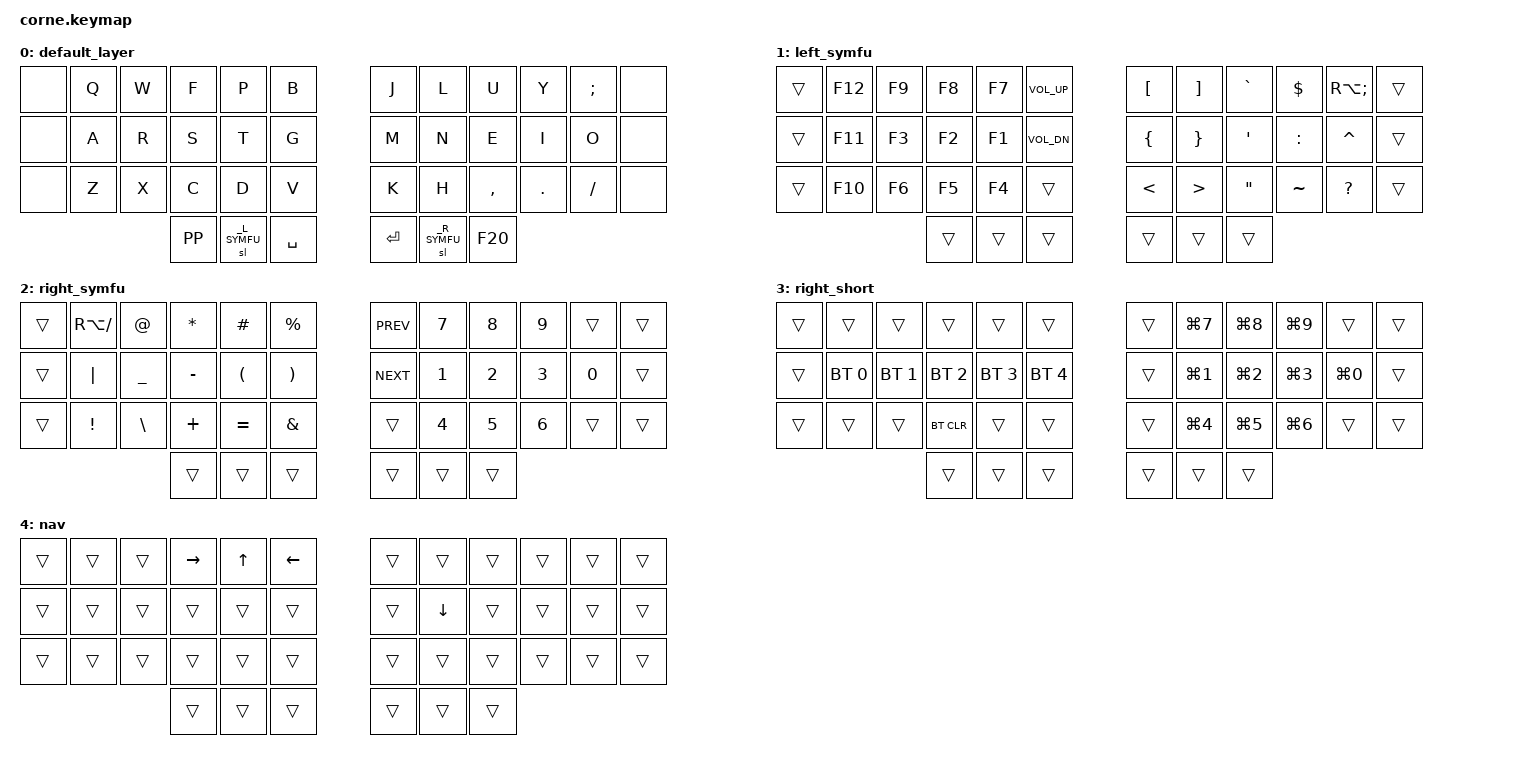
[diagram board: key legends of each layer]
/*
 * Copyright (c) 2020 The ZMK Contributors
 *
 * SPDX-License-Identifier: MIT
 */

#include <behaviors.dtsi>
#include <dt-bindings/zmk/keys.h>
#include <dt-bindings/zmk/bt.h>

#define _BASE 0
#define _L_SYMFU 1
#define _R_SYMFU 2
#define _R_SHORT 3
#define _NAV 4


/ {
// |   0  |  1  |  2  |  3  |  4  |  5  |   |  6  |  7  |  8  |  9  | 10  |  11  |
// +------+-LGui+LAlt-+-LCtl+-LSft+-Clr-+   +Short+-RSft+-RCtl+-RAlt+-RGui+------+
// |  12  | 13  | 14  | 15  | 16  | 17  |CpW| 18  | 19  | 20  | 21  | 22  |  23  |
// +------+-----+AltGr+-Nav-+-Tab-+C-PgUp   C-PgDn+-Bspc+-Nav-+AltGr+-----+------+
// |  24  | 25  | 26  | 27  | 28  | 29  |   | 30  | 31  | 32  | 33  | 34  |  35  |
//                    +-----+-----+-----+   +-----+-----+-----+
//                    | 36  | 37  | 38  |Esc| 39  | 40  | 41  |
    combos {
        compatible = "zmk,combos";
        combo_esc {
            timeout-ms = <50>;
            key-positions = <38 39>;
            bindings = <&kp ESC>;
        };
        combo_caps_word {
            timeout-ms = <50>;
            key-positions = <17 18>;
            bindings = <&caps_word>;
        };

        // Left top row
        combo_left_super {
            timeout-ms = <50>;
            key-positions = <1 13>;
            bindings = <&sk LGUI>;
        };
        combo_left_alt {
            timeout-ms = <50>;
            key-positions = <2 14>;
            bindings = <&sk LALT>;
        };
        combo_left_ctrl {
            timeout-ms = <50>;
            key-positions = <3 15>;
            bindings = <&sk LCTL>;
        };
        combo_left_shift {
            timeout-ms = <50>;
            key-positions = <4 16>;
            bindings = <&sk LSHFT>;
        };
        combo_clear {
            timeout-ms = <50>;
            key-positions = <5 17>;
            bindings = <&sys_reset>;
        };

        // Right top row
        combo_right_short {
            timeout-ms = <50>;
            key-positions = <6 18>;
            bindings = <&sl _R_SHORT>;
        };
        combo_right_shift {
            timeout-ms = <50>;
            key-positions = <7 19>;
            bindings = <&sk RSHFT>;
        };
        combo_right_ctrl {
            timeout-ms = <50>;
            key-positions = <8 20>;
            bindings = <&sk RCTL>;
        };
        combo_right_alt {
            timeout-ms = <50>;
            key-positions = <9 21>;
            bindings = <&sk RALT>;
        };
        combo_right_gui {
            timeout-ms = <50>;
            key-positions = <10 22>;
            bindings = <&sk RGUI>;
        };

        // Left bottom row
        combo_left_altgr {
            timeout-ms = <50>;
            key-positions = <14 26>;
            bindings = <&sk RALT>;
        };
        combo_left_nav {
            timeout-ms = <50>;
            key-positions = <15 27>;
            bindings = <&sl _NAV>;
        };
        combo_left_tab {
            timeout-ms = <50>;
            key-positions = <16 28>;
            bindings = <&kp TAB>;
        };
        combo_ctrl_page_up {
            timeout-ms = <50>;
            key-positions = <17 29>;
            bindings = <&kp LC(PG_UP)>;
        };

        // Right bottom row
        combo_ctrl_page_down {
            timeout-ms = <50>;
            key-positions = <18 30>;
            bindings = <&kp LC(PG_DN)>;
        };
        combo_right_bspc {
            timeout-ms = <50>;
            key-positions = <19 31>;
            bindings = <&kp BSPC>;
            layers = <_BASE _R_SYMFU _R_SHORT _NAV>;
        };
        combo_right_del {
            timeout-ms = <50>;
            key-positions = <19 31>;
            bindings = <&kp BSPC>;
            layers = <_L_SYMFU>;
        };
        combo_right_nav {
            timeout-ms = <50>;
            key-positions = <20 32>;
            bindings = <&sl _NAV>;
        };
        combo_right_altgr {
            timeout-ms = <50>;
            key-positions = <21 33>;
            bindings = <&sk RALT>;
        };
    };
    keymap {
        compatible = "zmk,keymap";
        default_layer {
// -----------------------------------------------------------------------------------------
// |      |  Q  |  W  |  F  |  P  |  B  |   |  J  |  L   |  U  |  Y  |  ;  |      |
// |      |  A  |  R  |  S  |  T  |  G  |   |  M  |  N   |  E  |  I  |  O  |      |
// |      |  Z  |  X  |  C  |  D  |  V  |   |  K  |  H   |  ,  |  .  |  /  |      |
//                    | play| LSF | SPC |   | ENT | RSF  | Mute|
            bindings = <
   &none &kp Q &kp W &kp F &kp P &kp B   &kp J &kp L  &kp U     &kp Y   &kp SEMI &none
   &none &kp A &kp R &kp S &kp T &kp G   &kp M &kp N  &kp E     &kp I   &kp O    &none
   &none &kp Z &kp X &kp C &kp D &kp V   &kp K &kp H  &kp COMMA &kp DOT &kp FSLH &none
           &kp K_PP &sl _L_SYMFU &kp SPACE   &kp RET &sl _R_SYMFU &kp F20
                >;
        };
        left_symfu {
// -----------------------------------------------------------------------------------------
// |      | F12 | F9  | F8  | F7  | vol+|   |  [  |  ]  |  `  |  $  |  …  |      |
// |      | F11 | F3  | F2  | F1  | vol-|   |  {  |  }  |  '  |  :  |  ^  |      |
// |      | F10 | F6  | F5  | F4  |     |   |  <  |  >  |  "  |  ~  |  ?  |      |
//                    |     |     |     |   |     |     |     |
            bindings = <
   &trans &kp F12 &kp F9 &kp F8 &kp F7 &kp K_VOL_UP   &kp LBKT &kp RBKT &kp GRAVE &kp DLLR  &kp RA(SEMI) &trans
   &trans &kp F11 &kp F3 &kp F2 &kp F1 &kp K_VOL_DN   &kp LBRC &kp RBRC &kp SQT   &kp COLON &kp CARET    &trans
   &trans &kp F10 &kp F6 &kp F5 &kp F4 &trans         &kp LT   &kp GT   &kp DQT   &kp TILDE &kp QMARK    &trans
                       &trans  &trans  &trans      &trans  &trans   &trans
                >;
        };
        right_symfu {
// -----------------------------------------------------------------------------------------
// |      |  °  |  @  |  *  |  #  |  %  |   | prev|  7  |  8  |  9  |     |      |
// |      |  |  |  _  |  -  |  (  |  )  |   | next|  1  |  2  |  3  |  0  |      |
// |      |  !  |  \  |  +  |  =  |  &  |   |     |  4  |  5  |  6  |     |      |
//                    |     |     |     |   |     |     |     |
            bindings = <
   &trans &kp RA(FSLH)  &kp AT    &kp STAR  &kp HASH  &kp PRCNT   &kp K_PREV &kp N7 &kp N8 &kp N9 &trans &trans
   &trans &kp PIPE      &kp UNDER &kp MINUS &kp LPAR  &kp RPAR    &kp K_NEXT &kp N1 &kp N2 &kp N3 &kp N0 &trans
   &trans &kp EXCL      &kp BSLH  &kp PLUS  &kp EQUAL &kp AMPS    &trans     &kp N4 &kp N5 &kp N6 &trans &trans
                                   &trans  &trans  &trans      &trans  &trans   &trans
                >;
        };
        right_short {
// -----------------------------------------------------------------------------------------
// |      |     |     |     |     |     |   |     | s-7 | s-8 | s-9 |     |      |
// |      | BT0 | BT1 | BT2 | BT3 | BT4 |   |     | s-1 | s-2 | s-3 | s-0 |      |
// |      |     |     |BTCLR|     |     |   |     | s-4 | s-5 | s-6 |     |      |
//                    |     |     |     |   |     |     |     |
            bindings = <
   &trans     &trans       &trans       &trans       &trans       &trans         &trans &kp LG(N7) &kp LG(N8) &kp LG(N9) &trans     &trans
   &trans     &bt BT_SEL 0 &bt BT_SEL 1 &bt BT_SEL 2 &bt BT_SEL 3 &bt BT_SEL 4   &trans &kp LG(N1) &kp LG(N2) &kp LG(N3) &kp LG(N0) &trans
   &trans     &trans       &trans       &bt BT_CLR   &trans       &trans         &trans &kp LG(N4) &kp LG(N5) &kp LG(N6) &trans     &trans
                                                       &trans  &trans  &trans      &trans  &trans   &trans
                >;
        };
        nav {
// -----------------------------------------------------------------------------------------
// |      |     |     |     |     |     |   |     | s-7 | s-8 | s-9 |     |      |
// |      |     |     |     |     |     |   |     | s-1 | s-2 | s-3 | s-0 |      |
// |      |     |     |     |     |     |   |     | s-4 | s-5 | s-6 |     |      |
//                    |     |     |     |   |     |     |     |
            bindings = <
   &trans &trans &trans &kp RIGHT &kp UP &kp LEFT   &trans &trans   &trans &trans &trans &trans
   &trans &trans &trans &trans    &trans &trans     &trans &kp DOWN &trans &trans &trans &trans
   &trans &trans &trans &trans    &trans &trans     &trans &trans   &trans &trans &trans &trans
                    &trans  &trans  &trans      &trans  &trans   &trans
                >;
        };
    };
};
